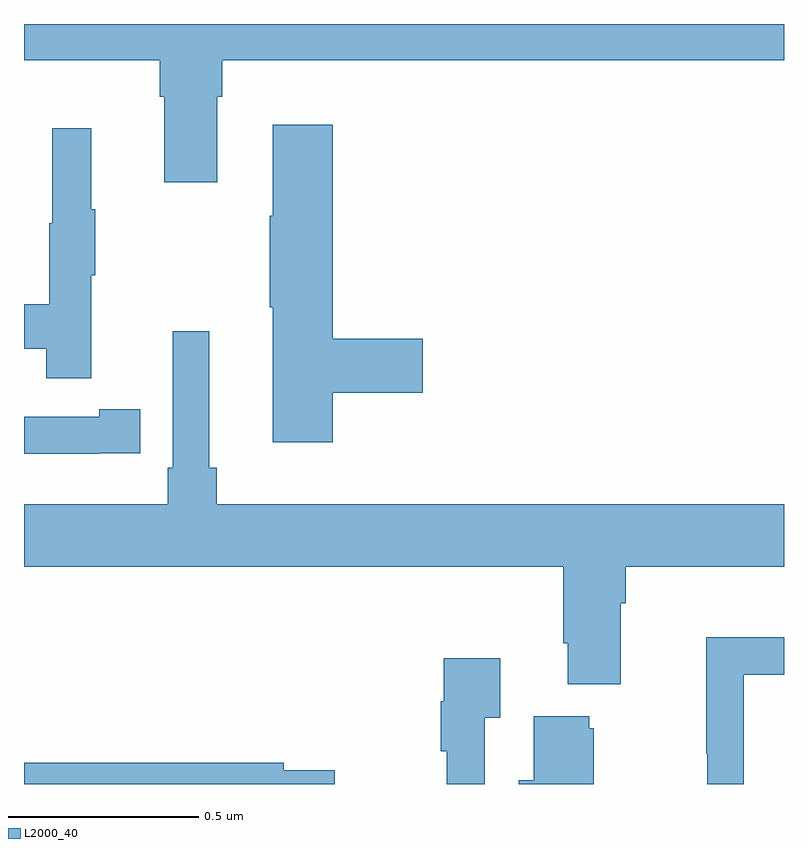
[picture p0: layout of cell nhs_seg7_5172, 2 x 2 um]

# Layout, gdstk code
import gdstk
lib = gdstk.Library(unit=1e-6, precision=1e-09)
def P(c, l, *ps):  # polygons
    for p in ps: c.add(gdstk.Polygon(p, *l))
L2000_40 = (2000, 40)

nhs_seg7_5172 = lib.new_cell('nhs_seg7_5172')
P(nhs_seg7_5172, L2000_40, [(182.509,1045.808),(182.522,1045.808),(182.522,1045.904),(184,1045.904),(184,1046),(182,1046),(182,1045.904),(182.357,1045.904),(182.357,1045.808),(182.369,1045.808),(182.369,1045.584),(182.509,1045.584)],
  [(182.813,1045.03),(183.049,1045.03),(183.049,1045.172),(182.813,1045.172),(182.813,1045.735),(182.654,1045.735),(182.654,1045.496),(182.647,1045.496),(182.647,1045.255),(182.654,1045.255),(182.654,1044.9),(182.813,1044.9)],
  [(182.177,1045.339),(182.188,1045.339),(182.188,1045.513),(182.177,1045.513),(182.177,1045.726),(182.074,1045.726),(182.074,1045.476),(182.067,1045.476),(182.067,1045.262),(182,1045.262),(182,1045.146),(182.059,1045.146),(182.059,1045.068),(182.177,1045.068)],
  [(182.198,1044.87),(182.306,1044.87),(182.306,1044.986),(182.198,1044.986),(182.198,1044.966),(182,1044.966),(182,1044.869),(182.198,1044.869)],
  [(182.507,1044.832),(182.488,1044.832),(182.488,1045.192),(182.391,1045.192),(182.391,1044.832),(182.378,1044.832),(182.378,1044.736),(182,1044.736),(182,1044.572),(183.419,1044.572),(183.419,1044.37),(183.431,1044.37),(183.431,1044.263),(183.571,1044.263),(183.571,1044.476),(183.584,1044.476),(183.584,1044.572),(184,1044.572),(184,1044.736),(182.507,1044.736)],
  [(183.894,1044.288),(184,1044.288),(184,1044.386),(183.796,1044.386),(183.796,1044.079),(183.798,1044.079),(183.798,1044),(183.894,1044)],
  [(183.213,1044.175),(183.253,1044.175),(183.253,1044.331),(183.105,1044.331),(183.105,1044.218),(183.097,1044.218),(183.097,1044.086),(183.112,1044.086),(183.112,1044),(183.213,1044)],
  [(183.499,1044.147),(183.488,1044.147),(183.488,1044.178),(183.341,1044.178),(183.341,1044.01),(183.302,1044.01),(183.302,1044),(183.499,1044)],
  [(182.818,1044.036),(182.684,1044.036),(182.684,1044.056),(182,1044.056),(182,1044),(182.818,1044)])

lib.write_gds('nhs_seg7_5172.gds')
